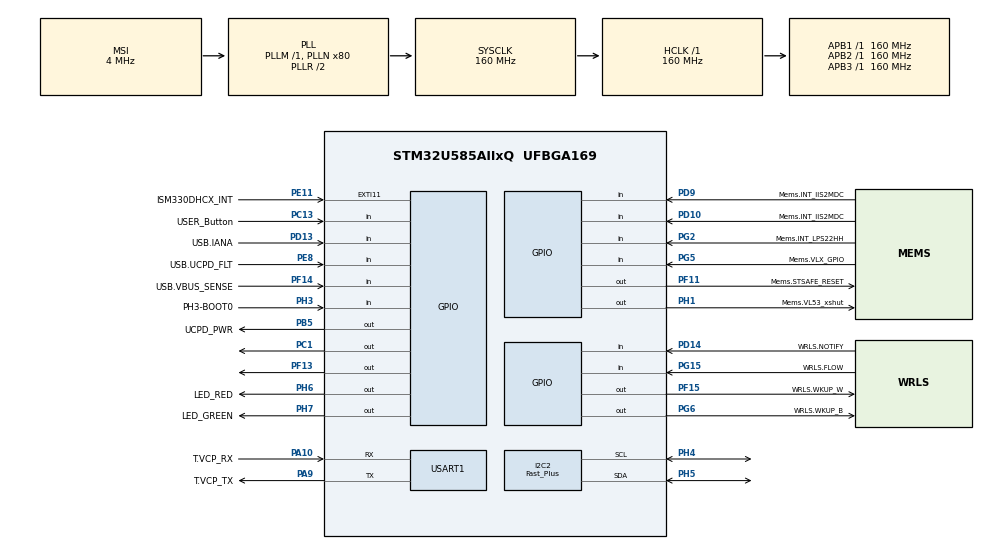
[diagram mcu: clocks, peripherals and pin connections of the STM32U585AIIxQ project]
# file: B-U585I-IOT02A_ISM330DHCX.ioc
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CORTEX_M33_NS.userName=CORTEX_M33
I2C2.AutonomousMode=AUTONOMOUS_MODE_DISABLE
I2C2.I2C_Speed_Mode=I2C_Fast_Plus
I2C2.Timing=0x00701F6B
Mcu.Family=STM32U5
Mcu.Name=STM32U585AIIxQ
Mcu.Package=UFBGA169
NVIC.EXTI11_IRQn=true\:0\:0\:false\:false\:true\:true\:true\:true
NVIC.PriorityGroup=NVIC_PRIORITYGROUP_4
PA10.GPIO_Label=T.VCP_RX
PA10.Mode=Asynchronous
PA10.Signal=USART1_RX
PA11.GPIO_Label=USB.C_P
PA11.Signal=USB_OTG_FS_DM
PA12.GPIO_Label=USB.C_P
PA12.Signal=USB_OTG_FS_DP
PA13\ (JTMS/SWDIO).GPIO_Label=T.SWDIO
PA13\ (JTMS/SWDIO).Signal=DEBUG_JTMS-SWDIO
PA14\ (JTCK/SWCLK).GPIO_Label=T.SWCLK
PA14\ (JTCK/SWCLK).Signal=DEBUG_JTCK-SWCLK
PA15\ (JTDI).GPIO_Label=USB.UCPD_CC1
PA15\ (JTDI).Signal=UCPD1_CC1
PA9.GPIO_Label=T.VCP_TX
PA9.Mode=Asynchronous
PA9.Signal=USART1_TX
PB1.GPIO_Label=MIC.SDIN0
PB1.Signal=MDF1_SDI0
PB10.GPIO_Label=OCTOSPI.R_CLK_P
PB10.Signal=OCTOSPIM_P1_CLK
PB11.GPIO_Label=OCTOSPI.R_NCS
PB11.Signal=OCTOSPIM_P1_NCS
PB12.GPIO_Label=WRLS.SPI2_NSS
PB12.Signal=SPI2_NSS
PB15.GPIO_Label=USB.UCPD_CC2
PB15.Signal=UCPD1_CC2
PB3\ (JTDO/TRACESWO).GPIO_Label=T.SWO
PB3\ (JTDO/TRACESWO).Signal=DEBUG_JTDO-SWO
PB5.GPIO_Label=UCPD_PWR
PB5.Signal=GPIO_Output
PB8.Signal=I2C1_SCL
PB9.Signal=I2C1_SDA
PC1.GPIO_PuPd=GPIO_PULLDOWN
PC1.GPIO_Speed=GPIO_SPEED_FREQ_VERY_HIGH
PC1.PinState=GPIO_PIN_RESET
PC1.Signal=GPIO_Output
PC10.GPIO_Label=WRLS.UART4_TX
PC10.Signal=UART4_TX
PC11.GPIO_Label=WRLS.UART4_RX
PC11.Signal=UART4_RX
PC13.GPIO_Label=USER_Button
PC13.Signal=GPIO_Input
PC14-OSC32_IN\ (PC14).GPIO_Label=PC14-OSC32_IN
PC14-OSC32_IN\ (PC14).Signal=RCC_OSC32_IN
PC15-OSC32_OUT\ (PC15).GPIO_Label=PC15-OSC32_OUT
PC15-OSC32_OUT\ (PC15).Signal=RCC_OSC32_OUT
PC3.GPIO_Label=OCTOSPI.R_IO6
PC3.Signal=OCTOSPIM_P1_IO6
PD1.GPIO_Label=WRLS.SPI2_SCK
PD1.Signal=SPI2_SCK
PD10.GPIO_Label=Mems.INT_IIS2MDC
PD10.Signal=GPIO_Input
PD13.GPIO_Label=USB.IANA
PD13.Signal=GPIO_Input
PD14.GPIO_Label=WRLS.NOTIFY
PD14.Signal=GPIO_Input
PD3.GPIO_Label=WRLS.SPI2_MISO
PD3.Signal=SPI2_MISO
PD4.GPIO_Label=WRLS.SPI2_MOSI
PD4.Signal=SPI2_MOSI
PD7.GPIO_Label=OCTOSPI.R_IO7
PD7.Signal=OCTOSPIM_P1_IO7
PD9.GPIO_Label=Mems.INT_IIS2MDC
PD9.Signal=GPIO_Input
PE10.GPIO_Label=MIC.SDINx
PE10.Signal=ADF1_SDI0
PE11.GPIO_Label=ISM330DHCX_INT
PE11.Signal=GPXTI11
PE3.GPIO_Label=OCTOSPI.R_DQS
PE3.Signal=OCTOSPIM_P1_DQS
PE8.GPIO_Label=USB.UCPD_FLT
PE8.Signal=GPIO_Input
PE9.GPIO_Label=MIC.CCK0
PE9.Signal=ADF1_CCK0
PF0.GPIO_Label=OCTOSPI.F_IO0
PF0.Signal=OCTOSPIM_P2_IO0
PF1.GPIO_Label=OCTOSPI.F_IO1
PF1.Signal=OCTOSPIM_P2_IO1
PF10.GPIO_Label=MIC.CCK1
PF10.Signal=MDF1_CCK1
PF11.GPIO_Label=Mems.STSAFE_RESET
PF11.Signal=GPIO_Output
PF12.GPIO_Label=OCTOSPI.F_DQS
PF12.Signal=OCTOSPIM_P2_DQS
PF13.Signal=GPIO_Output
PF14.GPIO_Label=USB.VBUS_SENSE
PF14.Signal=GPIO_Input
PF15.GPIO_Label=WRLS.WKUP_W
PF15.Signal=GPIO_Output
PF2.GPIO_Label=OCTOSPI.F_IO2
PF2.Signal=OCTOSPIM_P2_IO2
PF3.GPIO_Label=OCTOSPI.F_IO3
PF3.Signal=OCTOSPIM_P2_IO3
PF4.GPIO_Label=OCTOSPI.F_CLK_P
PF4.Signal=OCTOSPIM_P2_CLK
PF6.GPIO_Label=OCTOSPI.R_IO3
PF6.Signal=OCTOSPIM_P1_IO3
PF7.GPIO_Label=OCTOSPI.R_IO2
PF7.Signal=OCTOSPIM_P1_IO2
PF8.GPIO_Label=OCTOSPI.R_IO0
PF8.Signal=OCTOSPIM_P1_IO0
PF9.GPIO_Label=OCTOSPI.R_IO1
PF9.Signal=OCTOSPIM_P1_IO1
PG15.GPIO_Label=WRLS.FLOW
PG15.Signal=GPIO_Input
PG2.GPIO_Label=Mems.INT_LPS22HH
PG2.Signal=GPIO_Input
PG5.GPIO_Label=Mems.VLX_GPIO
PG5.Signal=GPIO_Input
PG6.GPIO_Label=WRLS.WKUP_B
PG6.Signal=GPIO_Output
PH1-OSC_OUT\ (PH1).GPIO_Label=Mems.VL53_xshut
PH1-OSC_OUT\ (PH1).Signal=GPIO_Output
PH10.GPIO_Label=OCTOSPI.F_IO5
PH10.Signal=OCTOSPIM_P2_IO5
PH11.GPIO_Label=OCTOSPI.F_IO6
PH11.Signal=OCTOSPIM_P2_IO6
PH12.GPIO_Label=OCTOSPI.F_IO7
PH12.Signal=OCTOSPIM_P2_IO7
PH2.GPIO_Label=OCTOSPI.R_IO4
PH2.Signal=OCTOSPIM_P1_IO4
PH3-BOOT0.GPIO_Label=PH3-BOOT0
PH3-BOOT0.Signal=GPIO_Input
PH4.GPIO_Mode=GPIO_MODE_AF_OD
PH4.GPIO_Speed=GPIO_SPEED_FREQ_VERY_HIGH
PH4.Mode=I2C
PH4.Signal=I2C2_SCL
PH5.GPIO_Speed=GPIO_SPEED_FREQ_VERY_HIGH
PH5.Mode=I2C
PH5.Signal=I2C2_SDA
PH6.GPIO_Label=LED_RED
PH6.Signal=GPIO_Output
PH7.GPIO_Label=LED_GREEN
PH7.Signal=GPIO_Output
PH9.GPIO_Label=OCTOSPI.F_IO4
PH9.Signal=OCTOSPIM_P2_IO4
PI0.GPIO_Label=OCTOSPI.R_IO5
PI0.Signal=OCTOSPIM_P1_IO5
PI5.GPIO_Label=OCTOSPI.F_NCS
PI5.Signal=OCTOSPIM_P2_NCS
PWR.PowerMode=PWR_SMPS_SUPPLY
ProjectManager.HeapSize=0x200
ProjectManager.StackSize=0x400
ProjectManager.TargetToolchain=STM32CubeIDE
RCC.ADCFreq_Value=16000000
RCC.AHBFreq_Value=160000000
RCC.APB1Freq_Value=160000000
RCC.APB1TimFreq_Value=160000000
RCC.APB2Freq_Value=160000000
RCC.APB2TimFreq_Value=160000000
RCC.APB3Freq_Value=160000000
RCC.CortexFreq_Value=160000000
RCC.DACCLockSelectionVirtual=RCC_DAC1CLKSOURCE_LSI
RCC.EPOD_VALUE=4000000
RCC.HCLKFreq_Value=160000000
RCC.HSE_VALUE=16000000
RCC.HSI48_VALUE=48000000
RCC.HSI_VALUE=16000000
RCC.LSE_VALUE=32768
RCC.LSIDIV_VALUE=32000
RCC.MSI_VALUE=4000000
RCC.PLLN=80
RCC.SYSCLKFreq_VALUE=160000000
RCC.SYSCLKSource=RCC_SYSCLKSOURCE_PLLCLK
RCC.USBFreq_Value=48000000
RCC.VCOOutputFreq_Value=320000000
USART1.VirtualMode-Asynchronous=VM_ASYNC
VP_LPBAMQUEUE_VS_QUEUE.Mode=QUEUEMODE
VP_LPBAM_VS_SIG1.Mode=SmartRun
VP_LPBAM_VS_SIG4.Mode=LPDMA1
VP_MEMORYMAP_VS_MEMORYMAP.Mode=CurAppReg
VP_PWR_VS_DBSignals.Mode=DisableDeadBatterySignals
VP_PWR_VS_LPOM.Mode=PowerOptimisation
VP_PWR_VS_SECSignals.Mode=Security/Privilege
board=B-U585I-IOT02A

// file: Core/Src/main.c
/* USER CODE BEGIN Header */
/**
 ******************************************************************************
 * @file           : main.c
 * @brief          : Main program body
 ******************************************************************************
 * @attention
 *
 * Copyright (c) 2022 STMicroelectronics.
 * All rights reserved.
 *
 * This software is licensed under terms that can be found in the LICENSE file
 * in the root directory of this software component.
 * If no LICENSE file comes with this software, it is provided AS-IS.
 *
 ******************************************************************************
 */
/* USER CODE END Header */
#include "main.h"

/* USER CODE BEGIN Includes */
#include <string.h>
#include <stdio.h>
#include "ism330dhcx_reg.h"
#include "cycle_dwt.h"
#include "NanoEdgeAI.h"
#include "knowledge.h"

/* USER CODE END Includes */

/* USER CODE BEGIN PTD */
typedef enum {
	LOG, INFERENCE,
} States_t;
/* USER CODE END PTD */

/* USER CODE BEGIN PD */
/************************************************************ NEAI algorithm defines begin ************************************************************/
/************************************************************ Global settings part ************************************************************/
#ifndef AXIS
#define AXIS                          3                         /* Axis should be defined between 1 and 3 */
#endif
#ifndef SAMPLES
#define SAMPLES                       256                       /* Should be between 16 & 4096 */
#endif
#define MAX_FIFO_SIZE                   256                       /* The maximum number of data we can get in the FIFO is 512 but here we define max to 256 for our need */
#define FIFO_FULL                       512                       /* FIFO full size */
#define FIFO_WORD                       7                         /* FIFO word size composed of 1 byte which is identification tag & 6 bytes of fixed data */
/************************************************************ Sensor type part ************************************************************/
#define GYROSCOPE                       0
#define ACCELEROMETER                   1
#ifndef SENSOR_TYPE
#define SENSOR_TYPE                   ACCELEROMETER             /* Here we define the data type we're going to collect */
#endif
/************************************************************ Sensors configuration part ************************************************************/
#if (SENSOR_TYPE == ACCELEROMETER)
#ifndef ACCELEROMETER_ODR
#define ACCELEROMETER_ODR           ISM330DHCX_XL_ODR_833Hz  /* Shoud be between ISM330DHCX_XL_ODR_12Hz5 and ISM330DHCX_XL_ODR_6667Hz */
#endif
#ifndef ACCELEROMETER_FS
#define ACCELEROMETER_FS            ISM330DHCX_2g             /* Should be between ISM330DHCX_2g and ISM330DHCX_8g */
#endif
#elif (SENSOR_TYPE == GYROSCOPE)
  #ifndef GYROSCOPE_ODR
    #define GYROSCOPE_ODR               ISM330DHCX_GY_ODR_1666Hz  /* Shoud be between ISM330DHCX_GY_ODR_12Hz5 and ISM330DHCX_GY_ODR_6667Hz */
  #endif
  #ifndef GYROSCOPE_FS
    #define GYROSCOPE_FS                ISM330DHCX_2000dps        /* Should be between ISM330DHCX_125dps and ISM330DHCX_4000dps */
  #endif
#endif
/************************************************************ Datalogger / NEAI mode part ************************************************************/
#ifndef NEAI_MODE
#define NEAI_MODE                     1                        /* 0: Datalogger mode, 1: NEAI functions mode */
#endif
#if (NEAI_MODE == 1)
#ifndef NEAI_LEARN_NB
#define NEAI_LEARN_NB               20                        /* Number of buffers to be learn by the NEAI library */
#endif
#endif

#ifndef SIGNAL_SIZE
#define SIGNAL_SIZE  (uint32_t)(DATA_INPUT_USER * AXIS_NUMBER)
#endif
/************************************************************ NEAI algorithm defines end ************************************************************/
/* USER CODE END PD */

I2C_HandleTypeDef hi2c2;

UART_HandleTypeDef huart1;

/* USER CODE BEGIN PV */
static uint8_t whoamI, rst;
uint8_t neai_similarity = 0, neai_state = 0;
volatile uint8_t drdy = 0;
uint16_t data_left = (uint16_t) SAMPLES, number_read = 0, neai_buffer_ptr = 0,
		neai_cnt = 0;
float neai_time = 0.0;
static float neai_buffer[AXIS * SAMPLES] = { 0.0 };
stmdev_ctx_t dev_ctx;

volatile States_t appState = INFERENCE;  // FSM state
volatile uint32_t sensorDataReady = RESET;
float input_user_buffer[SIGNAL_SIZE ];
uint16_t id_class = 0; // Points to id class
float output_class_buffer[CLASS_NUMBER]; // Buffer for class probabilities

const char *id2class[CLASS_NUMBER + 1] = { // Buffer for mapping class id to class name
		"unknown", "static", "vibr", };

/* USER CODE END PV */

void SystemClock_Config(void);
static void SystemPower_Config(void);
static void MX_GPIO_Init(void);
static void MX_USART1_UART_Init(void);
static void MX_I2C2_Init(void);
/* USER CODE BEGIN PFP */
static int32_t platform_write(void *handle, uint8_t reg, const uint8_t *bufp,
		uint16_t len);
static int32_t platform_read(void *handle, uint8_t reg, uint8_t *bufp,
		uint16_t len);
static void ism330dhcx_initialize(void);
static void ism330dhcx_initialize_basics(void);
static void ism330dhcx_initialize_fifo(void);
static void ism330dhcx_get_buffer_from_fifo(uint16_t nb);
static float ism330dhcx_convert_gyro_data_to_mdps(int16_t gyro_raw_data);
static float ism330dhcx_convert_accel_data_to_mg(int16_t accel_raw_data);

void Inference();
void FillBuffer(float *buffer, uint32_t size);
/* USER CODE END PFP */

int main(void)
{
  /* USER CODE BEGIN 1 */
	/* Initialize mems driver interface */
	dev_ctx.write_reg = platform_write;
	dev_ctx.read_reg = platform_read;
	dev_ctx.handle = &hi2c2;
  /* USER CODE END 1 */

  /* MCU Configuration--------------------------------------------------------*/

  /* Reset of all peripherals, Initializes the Flash interface and the Systick. */
  HAL_Init();

  /* Configure the system clock */
  SystemClock_Config();

  /* Configure the System Power */
  SystemPower_Config();

  /* Initialize all configured peripherals */
  MX_GPIO_Init();
  MX_USART1_UART_Init();
  MX_I2C2_Init();
  /* USER CODE BEGIN 2 */
	KIN1_InitCycleCounter();
	KIN1_EnableCycleCounter();
	ism330dhcx_initialize();
	if (NEAI_MODE) {
		enum neai_state error_code = neai_classification_init(knowledge);
		if (error_code != NEAI_OK) {
			printf("Knowledge initialization ERROR: %d\r\n", error_code);
			Error_Handler();
		} else {
			printf("Knowledge initialization done\r\n");
		}
	}

  /* USER CODE END 2 */

  /* Infinite loop */
  /* USER CODE BEGIN WHILE */

	while (1) {
		switch (appState) {
		case LOG:
			// Log(); // Implement if needed
			break;
		case INFERENCE:
			Inference();
			break;
		default:
			appState = INFERENCE;
			break;
		}
	}
    /* USER CODE END WHILE */

}

void SystemClock_Config(void)
{
  RCC_OscInitTypeDef RCC_OscInitStruct = {0};
  RCC_ClkInitTypeDef RCC_ClkInitStruct = {0};

  /** Configure the main internal regulator output voltage
  */
  if (HAL_PWREx_ControlVoltageScaling(PWR_REGULATOR_VOLTAGE_SCALE1) != HAL_OK)
  {
    Error_Handler();
  }

  /** Initializes the CPU, AHB and APB buses clocks
  */
  RCC_OscInitStruct.OscillatorType = RCC_OSCILLATORTYPE_MSI;
  RCC_OscInitStruct.MSIState = RCC_MSI_ON;
  RCC_OscInitStruct.MSICalibrationValue = RCC_MSICALIBRATION_DEFAULT;
  RCC_OscInitStruct.MSIClockRange = RCC_MSIRANGE_4;
  RCC_OscInitStruct.PLL.PLLState = RCC_PLL_ON;
  RCC_OscInitStruct.PLL.PLLSource = RCC_PLLSOURCE_MSI;
  RCC_OscInitStruct.PLL.PLLMBOOST = RCC_PLLMBOOST_DIV1;
  RCC_OscInitStruct.PLL.PLLM = 1;
  RCC_OscInitStruct.PLL.PLLN = 80;
  RCC_OscInitStruct.PLL.PLLP = 2;
  RCC_OscInitStruct.PLL.PLLQ = 2;
  RCC_OscInitStruct.PLL.PLLR = 2;
  RCC_OscInitStruct.PLL.PLLRGE = RCC_PLLVCIRANGE_0;
  RCC_OscInitStruct.PLL.PLLFRACN = 0;
  if (HAL_RCC_OscConfig(&RCC_OscInitStruct) != HAL_OK)
  {
    Error_Handler();
  }

  /** Initializes the CPU, AHB and APB buses clocks
  */
  RCC_ClkInitStruct.ClockType = RCC_CLOCKTYPE_HCLK|RCC_CLOCKTYPE_SYSCLK
                              |RCC_CLOCKTYPE_PCLK1|RCC_CLOCKTYPE_PCLK2
                              |RCC_CLOCKTYPE_PCLK3;
  RCC_ClkInitStruct.SYSCLKSource = RCC_SYSCLKSOURCE_PLLCLK;
  RCC_ClkInitStruct.AHBCLKDivider = RCC_SYSCLK_DIV1;
  RCC_ClkInitStruct.APB1CLKDivider = RCC_HCLK_DIV1;
  RCC_ClkInitStruct.APB2CLKDivider = RCC_HCLK_DIV1;
  RCC_ClkInitStruct.APB3CLKDivider = RCC_HCLK_DIV1;

  if (HAL_RCC_ClockConfig(&RCC_ClkInitStruct, FLASH_LATENCY_4) != HAL_OK)
  {
    Error_Handler();
  }
}

/**
  * @brief Power Configuration
  * @retval None
  */
static void SystemPower_Config(void)
{
  HAL_PWREx_EnableVddIO2();

  /*
   * Disable the internal Pull-Up in Dead Battery pins of UCPD peripheral
   */
  HAL_PWREx_DisableUCPDDeadBattery();

  /*
   * Switch to SMPS regulator instead of LDO
   */
  if (HAL_PWREx_ConfigSupply(PWR_SMPS_SUPPLY) != HAL_OK)
  {
    Error_Handler();
  }
}

static void MX_I2C2_Init(void)
{

  hi2c2.Instance = I2C2;
  hi2c2.Init.Timing = 0x00701F6B;
  hi2c2.Init.OwnAddress1 = 0;
  hi2c2.Init.AddressingMode = I2C_ADDRESSINGMODE_7BIT;
  hi2c2.Init.DualAddressMode = I2C_DUALADDRESS_DISABLE;
  hi2c2.Init.OwnAddress2 = 0;
  hi2c2.Init.OwnAddress2Masks = I2C_OA2_NOMASK;
  hi2c2.Init.GeneralCallMode = I2C_GENERALCALL_DISABLE;
  hi2c2.Init.NoStretchMode = I2C_NOSTRETCH_DISABLE;
  if (HAL_I2C_Init(&hi2c2) != HAL_OK)
  {
    Error_Handler();
  }

  /** Configure Analogue filter
  */
  if (HAL_I2CEx_ConfigAnalogFilter(&hi2c2, I2C_ANALOGFILTER_ENABLE) != HAL_OK)
  {
    Error_Handler();
  }

  /** Configure Digital filter
  */
  if (HAL_I2CEx_ConfigDigitalFilter(&hi2c2, 0) != HAL_OK)
  {
    Error_Handler();
  }

  /** I2C Fast mode Plus enable
  */
  if (HAL_I2CEx_ConfigFastModePlus(&hi2c2, I2C_FASTMODEPLUS_ENABLE) != HAL_OK)
  {
    Error_Handler();
  }

}

static void MX_USART1_UART_Init(void)
{

  huart1.Instance = USART1;
  huart1.Init.BaudRate = 115200;
  huart1.Init.WordLength = UART_WORDLENGTH_8B;
  huart1.Init.StopBits = UART_STOPBITS_1;
  huart1.Init.Parity = UART_PARITY_NONE;
  huart1.Init.Mode = UART_MODE_TX_RX;
  huart1.Init.HwFlowCtl = UART_HWCONTROL_NONE;
  huart1.Init.OverSampling = UART_OVERSAMPLING_16;
  huart1.Init.OneBitSampling = UART_ONE_BIT_SAMPLE_DISABLE;
  huart1.Init.ClockPrescaler = UART_PRESCALER_DIV1;
  huart1.AdvancedInit.AdvFeatureInit = UART_ADVFEATURE_NO_INIT;
  if (HAL_UART_Init(&huart1) != HAL_OK)
  {
    Error_Handler();
  }
  if (HAL_UARTEx_SetTxFifoThreshold(&huart1, UART_TXFIFO_THRESHOLD_1_8) != HAL_OK)
  {
    Error_Handler();
  }
  if (HAL_UARTEx_SetRxFifoThreshold(&huart1, UART_RXFIFO_THRESHOLD_1_8) != HAL_OK)
  {
    Error_Handler();
  }
  if (HAL_UARTEx_DisableFifoMode(&huart1) != HAL_OK)
  {
    Error_Handler();
  }

}

static void MX_GPIO_Init(void)
{
  GPIO_InitTypeDef GPIO_InitStruct = {0};

  /* GPIO Ports Clock Enable */
  __HAL_RCC_GPIOG_CLK_ENABLE();
  __HAL_RCC_GPIOC_CLK_ENABLE();
  __HAL_RCC_GPIOA_CLK_ENABLE();
  __HAL_RCC_GPIOI_CLK_ENABLE();
  __HAL_RCC_GPIOH_CLK_ENABLE();
  __HAL_RCC_GPIOB_CLK_ENABLE();
  __HAL_RCC_GPIOD_CLK_ENABLE();
  __HAL_RCC_GPIOE_CLK_ENABLE();
  __HAL_RCC_GPIOF_CLK_ENABLE();

  /*Configure GPIO pin Output Level */
  HAL_GPIO_WritePin(UCPD_PWR_GPIO_Port, UCPD_PWR_Pin, GPIO_PIN_RESET);

  /*Configure GPIO pin Output Level */
  HAL_GPIO_WritePin(GPIOH, LED_RED_Pin|LED_GREEN_Pin|Mems_VL53_xshut_Pin, GPIO_PIN_RESET);

  /*Configure GPIO pin Output Level */
  HAL_GPIO_WritePin(WRLS_WKUP_B_GPIO_Port, WRLS_WKUP_B_Pin, GPIO_PIN_RESET);

  /*Configure GPIO pin Output Level */
  HAL_GPIO_WritePin(GPIOC, GPIO_PIN_1, GPIO_PIN_RESET);

  /*Configure GPIO pin Output Level */
  HAL_GPIO_WritePin(GPIOF, Mems_STSAFE_RESET_Pin|GPIO_PIN_13|WRLS_WKUP_W_Pin, GPIO_PIN_RESET);

  /*Configure GPIO pins : WRLS_FLOW_Pin Mems_VLX_GPIO_Pin Mems_INT_LPS22HH_Pin */
  GPIO_InitStruct.Pin = WRLS_FLOW_Pin|Mems_VLX_GPIO_Pin|Mems_INT_LPS22HH_Pin;
  GPIO_InitStruct.Mode = GPIO_MODE_INPUT;
  GPIO_InitStruct.Pull = GPIO_NOPULL;
  HAL_GPIO_Init(GPIOG, &GPIO_InitStruct);

  /*Configure GPIO pins : WRLS_UART4_RX_Pin WRLS_UART4_TX_Pin */
  GPIO_InitStruct.Pin = WRLS_UART4_RX_Pin|WRLS_UART4_TX_Pin;
  GPIO_InitStruct.Mode = GPIO_MODE_AF_PP;
  GPIO_InitStruct.Pull = GPIO_NOPULL;
  GPIO_InitStruct.Speed = GPIO_SPEED_FREQ_LOW;
  GPIO_InitStruct.Alternate = GPIO_AF8_UART4;
  HAL_GPIO_Init(GPIOC, &GPIO_InitStruct);

  /*Configure GPIO pin : USB_UCPD_CC1_Pin */
  GPIO_InitStruct.Pin = USB_UCPD_CC1_Pin;
  GPIO_InitStruct.Mode = GPIO_MODE_ANALOG;
  GPIO_InitStruct.Pull = GPIO_NOPULL;
  HAL_GPIO_Init(USB_UCPD_CC1_GPIO_Port, &GPIO_InitStruct);

  /*Configure GPIO pin : OCTOSPI_F_NCS_Pin */
  GPIO_InitStruct.Pin = OCTOSPI_F_NCS_Pin;
  GPIO_InitStruct.Mode = GPIO_MODE_AF_PP;
  GPIO_InitStruct.Pull = GPIO_NOPULL;
  GPIO_InitStruct.Speed = GPIO_SPEED_FREQ_VERY_HIGH;
  GPIO_InitStruct.Alternate = GPIO_AF5_OCTOSPI2;
  HAL_GPIO_Init(OCTOSPI_F_NCS_GPIO_Port, &GPIO_InitStruct);

  /*Configure GPIO pin : OCTOSPI_R_IO5_Pin */
  GPIO_InitStruct.Pin = OCTOSPI_R_IO5_Pin;
  GPIO_InitStruct.Mode = GPIO_MODE_AF_PP;
  GPIO_InitStruct.Pull = GPIO_NOPULL;
  GPIO_InitStruct.Speed = GPIO_SPEED_FREQ_VERY_HIGH;
  GPIO_InitStruct.Alternate = GPIO_AF3_OCTOSPI1;
  HAL_GPIO_Init(OCTOSPI_R_IO5_GPIO_Port, &GPIO_InitStruct);

  /*Configure GPIO pins : OCTOSPI_F_IO7_Pin OCTOSPI_F_IO5_Pin OCTOSPI_F_IO6_Pin OCTOSPI_F_IO4_Pin */
  GPIO_InitStruct.Pin = OCTOSPI_F_IO7_Pin|OCTOSPI_F_IO5_Pin|OCTOSPI_F_IO6_Pin|OCTOSPI_F_IO4_Pin;
  GPIO_InitStruct.Mode = GPIO_MODE_AF_PP;
  GPIO_InitStruct.Pull = GPIO_NOPULL;
  GPIO_InitStruct.Speed = GPIO_SPEED_FREQ_VERY_HIGH;
  GPIO_InitStruct.Alternate = GPIO_AF5_OCTOSPI2;
  HAL_GPIO_Init(GPIOH, &GPIO_InitStruct);

  /*Configure GPIO pin : PH3_BOOT0_Pin */
  GPIO_InitStruct.Pin = PH3_BOOT0_Pin;
  GPIO_InitStruct.Mode = GPIO_MODE_INPUT;
  GPIO_InitStruct.Pull = GPIO_NOPULL;
  HAL_GPIO_Init(PH3_BOOT0_GPIO_Port, &GPIO_InitStruct);

  /*Configure GPIO pin : UCPD_PWR_Pin */
  GPIO_InitStruct.Pin = UCPD_PWR_Pin;
  GPIO_InitStruct.Mode = GPIO_MODE_OUTPUT_PP;
  GPIO_InitStruct.Pull = GPIO_NOPULL;
  GPIO_InitStruct.Speed = GPIO_SPEED_FREQ_LOW;
  HAL_GPIO_Init(UCPD_PWR_GPIO_Port, &GPIO_InitStruct);

  /*Configure GPIO pins : WRLS_SPI2_MOSI_Pin WRLS_SPI2_MISO_Pin WRLS_SPI2_SCK_Pin */
  GPIO_InitStruct.Pin = WRLS_SPI2_MOSI_Pin|WRLS_SPI2_MISO_Pin|WRLS_SPI2_SCK_Pin;
  GPIO_InitStruct.Mode = GPIO_MODE_AF_PP;
  GPIO_InitStruct.Pull = GPIO_NOPULL;
  GPIO_InitStruct.Speed = GPIO_SPEED_FREQ_LOW;
  GPIO_InitStruct.Alternate = GPIO_AF5_SPI2;
  HAL_GPIO_Init(GPIOD, &GPIO_InitStruct);

  /*Configure GPIO pin : OCTOSPI_R_DQS_Pin */
  GPIO_InitStruct.Pin = OCTOSPI_R_DQS_Pin;
  GPIO_InitStruct.Mode = GPIO_MODE_AF_PP;
  GPIO_InitStruct.Pull = GPIO_NOPULL;
  GPIO_InitStruct.Speed = GPIO_SPEED_FREQ_VERY_HIGH;
  GPIO_InitStruct.Alternate = GPIO_AF3_OCTOSPI1;
  HAL_GPIO_Init(OCTOSPI_R_DQS_GPIO_Port, &GPIO_InitStruct);

  /*Configure GPIO pins : PB9 PB8 */
  GPIO_InitStruct.Pin = GPIO_PIN_9|GPIO_PIN_8;
  GPIO_InitStruct.Mode = GPIO_MODE_AF_OD;
  GPIO_InitStruct.Pull = GPIO_NOPULL;
  GPIO_InitStruct.Speed = GPIO_SPEED_FREQ_LOW;
  GPIO_InitStruct.Alternate = GPIO_AF4_I2C1;
  HAL_GPIO_Init(GPIOB, &GPIO_InitStruct);

  /*Configure GPIO pin : OCTOSPI_R_IO7_Pin */
  GPIO_InitStruct.Pin = OCTOSPI_R_IO7_Pin;
  GPIO_InitStruct.Mode = GPIO_MODE_AF_PP;
  GPIO_InitStruct.Pull = GPIO_NOPULL;
  GPIO_InitStruct.Speed = GPIO_SPEED_FREQ_VERY_HIGH;
  GPIO_InitStruct.Alternate = GPIO_AF10_OCTOSPI1;
  HAL_GPIO_Init(OCTOSPI_R_IO7_GPIO_Port, &GPIO_InitStruct);

  /*Configure GPIO pins : OCTOSPI_F_IO0_Pin OCTOSPI_F_IO1_Pin OCTOSPI_F_IO2_Pin OCTOSPI_F_IO3_Pin
                           OCTOSPI_F_CLK_P_Pin OCTOSPI_F_DQS_Pin */
  GPIO_InitStruct.Pin = OCTOSPI_F_IO0_Pin|OCTOSPI_F_IO1_Pin|OCTOSPI_F_IO2_Pin|OCTOSPI_F_IO3_Pin
                          |OCTOSPI_F_CLK_P_Pin|OCTOSPI_F_DQS_Pin;
  GPIO_InitStruct.Mode = GPIO_MODE_AF_PP;
  GPIO_InitStruct.Pull = GPIO_NOPULL;
  GPIO_InitStruct.Speed = GPIO_SPEED_FREQ_VERY_HIGH;
  GPIO_InitStruct.Alternate = GPIO_AF5_OCTOSPI2;
  HAL_GPIO_Init(GPIOF, &GPIO_InitStruct);

  /*Configure GPIO pin : USER_Button_Pin */
  GPIO_InitStruct.Pin = USER_Button_Pin;
  GPIO_InitStruct.Mode = GPIO_MODE_INPUT;
  GPIO_InitStruct.Pull = GPIO_NOPULL;
  HAL_GPIO_Init(USER_Button_GPIO_Port, &GPIO_InitStruct);

  /*Configure GPIO pins : LED_RED_Pin LED_GREEN_Pin Mems_VL53_xshut_Pin */
  GPIO_InitStruct.Pin = LED_RED_Pin|LED_GREEN_Pin|Mems_VL53_xshut_Pin;
  GPIO_InitStruct.Mode = GPIO_MODE_OUTPUT_PP;
  GPIO_InitStruct.Pull = GPIO_NOPULL;
  GPIO_InitStruct.Speed = GPIO_SPEED_FREQ_LOW;
  HAL_GPIO_Init(GPIOH, &GPIO_InitStruct);

  /*Configure GPIO pins : OCTOSPI_R_IO0_Pin OCTOSPI_R_IO2_Pin OCTOSPI_R_IO1_Pin OCTOSPI_R_IO3_Pin */
  GPIO_InitStruct.Pin = OCTOSPI_R_IO0_Pin|OCTOSPI_R_IO2_Pin|OCTOSPI_R_IO1_Pin|OCTOSPI_R_IO3_Pin;
  GPIO_InitStruct.Mode = GPIO_MODE_AF_PP;
  GPIO_InitStruct.Pull = GPIO_NOPULL;
  GPIO_InitStruct.Speed = GPIO_SPEED_FREQ_VERY_HIGH;
  GPIO_InitStruct.Alternate = GPIO_AF10_OCTOSPI1;
  HAL_GPIO_Init(GPIOF, &GPIO_InitStruct);

  /*Configure GPIO pin : OCTOSPI_R_IO4_Pin */
  GPIO_InitStruct.Pin = OCTOSPI_R_IO4_Pin;
  GPIO_InitStruct.Mode = GPIO_MODE_AF_PP;
  GPIO_InitStruct.Pull = GPIO_NOPULL;
  GPIO_InitStruct.Speed = GPIO_SPEED_FREQ_VERY_HIGH;
  GPIO_InitStruct.Alternate = GPIO_AF3_OCTOSPI1;
  HAL_GPIO_Init(OCTOSPI_R_IO4_GPIO_Port, &GPIO_InitStruct);

  /*Configure GPIO pins : USB_C_P_Pin USB_C_PA11_Pin */
  GPIO_InitStruct.Pin = USB_C_P_Pin|USB_C_PA11_Pin;
  GPIO_InitStruct.Mode = GPIO_MODE_AF_PP;
  GPIO_InitStruct.Pull = GPIO_NOPULL;
  GPIO_InitStruct.Speed = GPIO_SPEED_FREQ_LOW;
  GPIO_InitStruct.Alternate = GPIO_AF10_USB;
  HAL_GPIO_Init(GPIOA, &GPIO_InitStruct);

  /*Configure GPIO pin : MIC_CCK1_Pin */
  GPIO_InitStruct.Pin = MIC_CCK1_Pin;
  GPIO_InitStruct.Mode = GPIO_MODE_AF_PP;
  GPIO_InitStruct.Pull = GPIO_NOPULL;
  GPIO_InitStruct.Speed = GPIO_SPEED_FREQ_LOW;
  GPIO_InitStruct.Alternate = GPIO_AF6_MDF1;
  HAL_GPIO_Init(MIC_CCK1_GPIO_Port, &GPIO_InitStruct);

  /*Configure GPIO pins : MIC_SDINx_Pin MIC_CCK0_Pin */
  GPIO_InitStruct.Pin = MIC_SDINx_Pin|MIC_CCK0_Pin;
  GPIO_InitStruct.Mode = GPIO_MODE_AF_PP;
  GPIO_InitStruct.Pull = GPIO_NOPULL;
  GPIO_InitStruct.Speed = GPIO_SPEED_FREQ_LOW;
  GPIO_InitStruct.Alternate = GPIO_AF3_ADF1;
  HAL_GPIO_Init(GPIOE, &GPIO_InitStruct);

  /*Configure GPIO pin : WRLS_WKUP_B_Pin */
  GPIO_InitStruct.Pin = WRLS_WKUP_B_Pin;
  GPIO_InitStruct.Mode = GPIO_MODE_OUTPUT_PP;
  GPIO_InitStruct.Pull = GPIO_NOPULL;
  GPIO_InitStruct.Speed = GPIO_SPEED_FREQ_LOW;
  HAL_GPIO_Init(WRLS_WKUP_B_GPIO_Port, &GPIO_InitStruct);

  /*Configure GPIO pin : PC1 */
  GPIO_InitStruct.Pin = GPIO_PIN_1;
  GPIO_InitStruct.Mode = GPIO_MODE_OUTPUT_PP;
  GPIO_InitStruct.Pull = GPIO_PULLDOWN;
  GPIO_InitStruct.Speed = GPIO_SPEED_FREQ_VERY_HIGH;
  HAL_GPIO_Init(GPIOC, &GPIO_InitStruct);

  /*Configure GPIO pins : WRLS_NOTIFY_Pin Mems_INT_IIS2MDC_Pin USB_IANA_Pin Mems_INT_IIS2MDCD9_Pin */
  GPIO_InitStruct.Pin = WRLS_NOTIFY_Pin|Mems_INT_IIS2MDC_Pin|USB_IANA_Pin|Mems_INT_IIS2MDCD9_Pin;
  GPIO_InitStruct.Mode = GPIO_MODE_INPUT;
  GPIO_InitStruct.Pull = GPIO_NOPULL;
  HAL_GPIO_Init(GPIOD, &GPIO_InitStruct);

  /*Configure GPIO pin : OCTOSPI_R_IO6_Pin */
  GPIO_InitStruct.Pin = OCTOSPI_R_IO6_Pin;
  GPIO_InitStruct.Mode = GPIO_MODE_AF_PP;
  GPIO_InitStruct.Pull = GPIO_NOPULL;
  GPIO_InitStruct.Speed = GPIO_SPEED_FREQ_VERY_HIGH;
  GPIO_InitStruct.Alternate = GPIO_AF10_OCTOSPI1;
  HAL_GPIO_Init(OCTOSPI_R_IO6_GPIO_Port, &GPIO_InitStruct);

  /*Configure GPIO pin : USB_UCPD_FLT_Pin */
  GPIO_InitStruct.Pin = USB_UCPD_FLT_Pin;
  GPIO_InitStruct.Mode = GPIO_MODE_INPUT;
  GPIO_InitStruct.Pull = GPIO_NOPULL;
  HAL_GPIO_Init(USB_UCPD_FLT_GPIO_Port, &GPIO_InitStruct);

  /*Configure GPIO pins : OCTOSPI_R_CLK_P_Pin OCTOSPI_R_NCS_Pin */
  GPIO_InitStruct.Pin = OCTOSPI_R_CLK_P_Pin|OCTOSPI_R_NCS_Pin;
  GPIO_InitStruct.Mode = GPIO_MODE_AF_PP;
  GPIO_InitStruct.Pull = GPIO_NOPULL;
  GPIO_InitStruct.Speed = GPIO_SPEED_FREQ_VERY_HIGH;
  GPIO_InitStruct.Alternate = GPIO_AF10_OCTOSPI1;
  HAL_GPIO_Init(GPIOB, &GPIO_InitStruct);

  /*Configure GPIO pin : USB_VBUS_SENSE_Pin */
  GPIO_InitStruct.Pin = USB_VBUS_SENSE_Pin;
  GPIO_InitStruct.Mode = GPIO_MODE_INPUT;
  GPIO_InitStruct.Pull = GPIO_NOPULL;
  HAL_GPIO_Init(USB_VBUS_SENSE_GPIO_Port, &GPIO_InitStruct);

  /*Configure GPIO pin : WRLS_SPI2_NSS_Pin */
  GPIO_InitStruct.Pin = WRLS_SPI2_NSS_Pin;
  GPIO_InitStruct.Mode = GPIO_MODE_AF_PP;
  GPIO_InitStruct.Pull = GPIO_NOPULL;
  GPIO_InitStruct.Speed = GPIO_SPEED_FREQ_LOW;
  GPIO_InitStruct.Alternate = GPIO_AF5_SPI2;
  HAL_GPIO_Init(WRLS_SPI2_NSS_GPIO_Port, &GPIO_InitStruct);

  /*Configure GPIO pin : USB_UCPD_CC2_Pin */
  GPIO_InitStruct.Pin = USB_UCPD_CC2_Pin;
  GPIO_InitStruct.Mode = GPIO_MODE_ANALOG;
  GPIO_InitStruct.Pull = GPIO_NOPULL;
  HAL_GPIO_Init(USB_UCPD_CC2_GPIO_Port, &GPIO_InitStruct);

  /*Configure GPIO pins : Mems_STSAFE_RESET_Pin PF13 WRLS_WKUP_W_Pin */
  GPIO_InitStruct.Pin = Mems_STSAFE_RESET_Pin|GPIO_PIN_13|WRLS_WKUP_W_Pin;
  GPIO_InitStruct.Mode = GPIO_MODE_OUTPUT_PP;
  GPIO_InitStruct.Pull = GPIO_NOPULL;
  GPIO_InitStruct.Speed = GPIO_SPEED_FREQ_LOW;
  HAL_GPIO_Init(GPIOF, &GPIO_InitStruct);

  /*Configure GPIO pin : ISM330DHCX_INT_Pin */
  GPIO_InitStruct.Pin = ISM330DHCX_INT_Pin;
  GPIO_InitStruct.Mode = GPIO_MODE_IT_RISING;
  GPIO_InitStruct.Pull = GPIO_NOPULL;
  HAL_GPIO_Init(ISM330DHCX_INT_GPIO_Port, &GPIO_InitStruct);

  /*Configure GPIO pin : MIC_SDIN0_Pin */
  GPIO_InitStruct.Pin = MIC_SDIN0_Pin;
  GPIO_InitStruct.Mode = GPIO_MODE_AF_PP;
  GPIO_InitStruct.Pull = GPIO_NOPULL;
  GPIO_InitStruct.Speed = GPIO_SPEED_FREQ_LOW;
  GPIO_InitStruct.Alternate = GPIO_AF6_MDF1;
  HAL_GPIO_Init(MIC_SDIN0_GPIO_Port, &GPIO_InitStruct);

  /* EXTI interrupt init*/
  HAL_NVIC_SetPriority(EXTI11_IRQn, 0, 0);
  HAL_NVIC_EnableIRQ(EXTI11_IRQn);

}

/* USER CODE BEGIN 4 */
/**
 * @brief  Redirecting stdout to USART1 which is connected on the STLINK port
 * @retval
 * @param
 */
int __io_putchar(int ch) {
	uint8_t c[1];
	c[0] = ch & 0x00FF;
	HAL_UART_Transmit(&huart1, &*c, 1, 10);
	return ch;
}

/**
 * @brief  EXTI line detection callback.
 * @param  GPIO_Pin Specifies the port pin connected to corresponding EXTI line.
 * @retval None
 */
void HAL_GPIO_EXTI_Rising_Callback(uint16_t GPIO_Pin) {
	switch (GPIO_Pin) {
	case ISM330DHCX_INT_Pin:
		drdy = 1;
		break;
	}
}

/*
 * @brief  Write generic device register (platform dependent)
 *
 * @param  handle    customizable argument. In this examples is used in
 *                   order to select the correct sensor bus handler.
 * @param  reg       register to write
 * @param  bufp      pointer to data to write in register reg
 * @param  len       number of consecutive register to write
 *
 */
static int32_t platform_write(void *handle, uint8_t reg, const uint8_t *bufp,
		uint16_t len) {
	HAL_I2C_Mem_Write(handle, ISM330DHCX_I2C_ADD_H, reg, I2C_MEMADD_SIZE_8BIT,
			(uint8_t*) bufp, len, 1000);
	return 0;
}

/*
 * @brief  Read generic device register (platform dependent)
 *
 * @param  handle    customizable argument. In this examples is used in
 *                   order to select the correct sensor bus handler.
 * @param  reg       register to read
 * @param  bufp      pointer to buffer that store the data read
 * @param  len       number of consecutive register to read
 *
 */
static int32_t platform_read(void *handle, uint8_t reg, uint8_t *bufp,
		uint16_t len) {
	HAL_GPIO_WritePin(GPIOC, GPIO_PIN_1, GPIO_PIN_SET);
	HAL_I2C_Mem_Read(handle, ISM330DHCX_I2C_ADD_H, reg, I2C_MEMADD_SIZE_8BIT,
			bufp, len, 1000);
	return 0;
}

/*
 * @brief  Initialize ISM330DHCX sensor interface
 *
 * @param  No
 *
 * @return No
 *
 */
static void ism330dhcx_initialize() {
	ism330dhcx_initialize_basics();
#if (SENSOR_TYPE == ACCELEROMETER)
	/* Accelelerometer configuration */
	ism330dhcx_xl_data_rate_set(&dev_ctx, ACCELEROMETER_ODR);
	ism330dhcx_xl_full_scale_set(&dev_ctx, ACCELEROMETER_FS);
#elif (SENSOR_TYPE == GYROSCOPE)
  /* Gyroscope configuration */
  ism330dhcx_gy_data_rate_set(&dev_ctx, GYROSCOPE_ODR);
  ism330dhcx_gy_full_scale_set(&dev_ctx, GYROSCOPE_FS);
#endif
	ism330dhcx_initialize_fifo();
}

/*
 * @brief  Initialize ISM330DHCX basics
 *
 * @param  No
 *
 * @return No
 *
 */
static void ism330dhcx_initialize_basics() {
	/* Check device ID */
	whoamI = 0;

	do {
		/* Wait sensor boot time */
		HAL_Delay(10);
		ism330dhcx_device_id_get(&dev_ctx, &whoamI);
	} while (whoamI != ISM330DHCX_ID);

	/* Restore default configuration */
	ism330dhcx_reset_set(&dev_ctx, PROPERTY_ENABLE);

	do {
		ism330dhcx_reset_get(&dev_ctx, &rst);
	} while (rst);

	/* Start device configuration. */
	ism330dhcx_device_conf_set(&dev_ctx, PROPERTY_ENABLE);
}

/*
 * @brief  Initialize ISM330DHCX internal FIFO
 *
 * @param  No
 *
 * @return No
 *
 */
static void ism330dhcx_initialize_fifo() {
#if (SENSOR_TYPE == ACCELEROMETER)
	/* Batch odr config */
	ism330dhcx_fifo_xl_batch_set(&dev_ctx, ACCELEROMETER_ODR);
	ism330dhcx_fifo_gy_batch_set(&dev_ctx, 0);
#elif (SENSOR_TYPE == GYROSCOPE)
  /* Batch odr config */
  ism330dhcx_fifo_xl_batch_set(&dev_ctx, 0);
  ism330dhcx_fifo_gy_batch_set(&dev_ctx, GYROSCOPE_ODR);
#endif
	/* FIFO MODE */
	ism330dhcx_fifo_mode_set(&dev_ctx, ISM330DHCX_BYPASS_MODE);
	HAL_Delay(10);
	ism330dhcx_fifo_mode_set(&dev_ctx, ISM330DHCX_STREAM_MODE);
	/* Watermark config */
	if (SAMPLES <= MAX_FIFO_SIZE) {
		ism330dhcx_fifo_watermark_set(&dev_ctx, (uint16_t) SAMPLES);
	} else {
		ism330dhcx_fifo_watermark_set(&dev_ctx, (uint16_t) MAX_FIFO_SIZE);
	}
	uint8_t ctrl = 0x08;
	ism330dhcx_write_reg(&dev_ctx, ISM330DHCX_INT1_CTRL, (uint8_t*) &ctrl, 1);
}

/*
 * @brief  Get accelerometer or gyroscope data from
 *         ISM330DHCX using the internal FIFO buffer
 *
 * @param  No
 *
 * @return No
 *
 */
static void ism330dhcx_get_buffer_from_fifo(uint16_t nb) {
	uint8_t reg_tag = 0;
	uint8_t buff_tmp[nb * FIFO_WORD];
	/*
	 * The data stored in FIFO are accessible from dedicated registers and each FIFO word is composed of 7
	 * bytes: one tag byte (FIFO_DATA_OUT_TAG (78h)), in order to identify the sensor, and 6 bytes of fixed data
	 * (FIFO_DATA_OUT registers from (79h) to (7Eh))
	 * So, here we read the fifo in only one transaction in order to save time
	 */
	ism330dhcx_read_reg(&dev_ctx, ISM330DHCX_FIFO_DATA_OUT_TAG, buff_tmp,
			nb * FIFO_WORD);
	for (uint16_t i = 0; i < nb; i++) {
		HAL_GPIO_WritePin(GPIOC, GPIO_PIN_1, GPIO_PIN_SET);
		/* According to the datasheet, the TAG_SENSOR is the 5 MSB of the FIFO_DATA_OUT_TAG register, so we shift 3 bits to the right */
		reg_tag = buff_tmp[FIFO_WORD * i] >> 3;
		if (reg_tag == ISM330DHCX_XL_NC_TAG) {
			neai_buffer[(AXIS * neai_buffer_ptr) + (AXIS * i)] =
					ism330dhcx_convert_accel_data_to_mg(
							(uint16_t) buff_tmp[(FIFO_WORD * i) + 2] << 8
									| buff_tmp[(FIFO_WORD * i) + 1]);
			neai_buffer[(AXIS * neai_buffer_ptr) + (AXIS * i) + 1] =
					ism330dhcx_convert_accel_data_to_mg(
							(uint16_t) buff_tmp[(FIFO_WORD * i) + 4] << 8
									| buff_tmp[(FIFO_WORD * i) + 3]);
			neai_buffer[(AXIS * neai_buffer_ptr) + (AXIS * i) + 2] =
					ism330dhcx_convert_accel_data_to_mg(
							(uint16_t) buff_tmp[(FIFO_WORD * i) + 6] << 8
									| buff_tmp[(FIFO_WORD * i) + 5]);
		} else if (reg_tag == ISM330DHCX_GYRO_NC_TAG) {
			neai_buffer[(AXIS * neai_buffer_ptr) + (AXIS * i)] =
					ism330dhcx_convert_gyro_data_to_mdps(
							(uint16_t) buff_tmp[(FIFO_WORD * i) + 2] << 8
									| buff_tmp[(FIFO_WORD * i) + 1]);
			neai_buffer[(AXIS * neai_buffer_ptr) + (AXIS * i) + 1] =
					ism330dhcx_convert_gyro_data_to_mdps(
							(uint16_t) buff_tmp[(FIFO_WORD * i) + 4] << 8
									| buff_tmp[(FIFO_WORD * i) + 3]);
			neai_buffer[(AXIS * neai_buffer_ptr) + (AXIS * i) + 2] =
					ism330dhcx_convert_gyro_data_to_mdps(
							(uint16_t) buff_tmp[(FIFO_WORD * i) + 6] << 8
									| buff_tmp[(FIFO_WORD * i) + 5]);
		}
	}
	neai_buffer_ptr += nb;
	if (neai_buffer_ptr == SAMPLES) {
		neai_buffer_ptr = 0;
	}
}

/*
 * @brief  Convert gyroscope raw data to milli degrees per second (mdps)
 *
 * @param  gyro_raw_data: which is gyroscope raw data
 *                        depending on the full scale selected
 *
 * @return The converted value in milli degrees per second (mdps)
 *
 */
static float ism330dhcx_convert_gyro_data_to_mdps(int16_t gyro_raw_data) {
	float gyro_data_mdps = 0.0;
#if (SENSOR_TYPE == GYROSCOPE)
  switch (GYROSCOPE_FS)
  {
  case ISM330DHCX_125dps:
    gyro_data_mdps = ism330dhcx_from_fs125dps_to_mdps(gyro_raw_data);
    break;
  case ISM330DHCX_250dps:
    gyro_data_mdps = ism330dhcx_from_fs250dps_to_mdps(gyro_raw_data);
    break;
  case ISM330DHCX_500dps:
    gyro_data_mdps = ism330dhcx_from_fs500dps_to_mdps(gyro_raw_data);
    break;
  case ISM330DHCX_1000dps:HAL_GPIO_WritePin(GPIOC, GPIO_PIN_1, GPIO_PIN_SET);
    gyro_data_mdps = ism330dhcx_from_fs1000dps_to_mdps(gyro_raw_data);
    break;
  case ISM330DHCX_2000dps:
    gyro_data_mdps = ism330dhcx_from_fs2000dps_to_mdps(gyro_raw_data);
    break;
  case ISM330DHCX_4000dps:
    gyro_data_mdps = ism330dhcx_from_fs4000dps_to_mdps(gyro_raw_data);
    break;
  default:
    gyro_data_mdps = 0.0;
    break;
  }
#endif
	return gyro_data_mdps;
}

/*
 * @brief  Convert accelerometer raw data to milli-G' (mg)
 *
 * @param  accel_raw_data: which is accelerometer raw data
 *                        depending on the full scale selected
 *
 * @return The converted value in milli-G' (mg)
 *
 */
static float ism330dhcx_convert_accel_data_to_mg(int16_t accel_raw_data) {
	float accel_data_mg = 0.0;
#if (SENSOR_TYPE == ACCELEROMETER)
	switch (ACCELEROMETER_FS) {
	case ISM330DHCX_2g:
		accel_data_mg = ism330dhcx_from_fs2g_to_mg(accel_raw_data);
		break;
	case ISM330DHCX_4g:
		accel_data_mg = ism330dhcx_from_fs4g_to_mg(accel_raw_data);
		break;
	case ISM330DHCX_8g:
		accel_data_mg = ism330dhcx_from_fs8g_to_mg(accel_raw_data);
		break;
	case ISM330DHCX_16g:
		accel_data_mg = ism330dhcx_from_fs16g_to_mg(accel_raw_data);
		break;
	default:
		accel_data_mg = 0.0;
		break;
	}
#endif
	return accel_data_mg;
}

void Inference() {
	FillBuffer(input_user_buffer, SIGNAL_SIZE);
	uint16_t id_class;
	neai_classification(input_user_buffer, output_class_buffer, &id_class);
	printf("Class: %s [%u%%]\r\n", id2class[id_class],
			(uint16_t) (output_class_buffer[id_class - 1] * 100));
	printf("id class : %d \n", id_class);
	if (id_class == 2) {
		printf("ch3l");
		HAL_GPIO_WritePin(GPIOF, GPIO_PIN_13, GPIO_PIN_SET);
	} else {
		printf("tfi");
		HAL_GPIO_WritePin(GPIOF, GPIO_PIN_13, GPIO_PIN_RESET);
	}
}

void FillBuffer(float *buffer, uint32_t size) {
	uint16_t num;
	uint16_t data_left = size / AXIS;
	uint8_t buff_tmp[MAX_FIFO_SIZE * FIFO_WORD];

	while (data_left > 0) {
		ism330dhcx_fifo_data_level_get(&dev_ctx, &num);
		if (data_left < num) {
			num = data_left;
		}

		ism330dhcx_read_reg(&dev_ctx, ISM330DHCX_FIFO_DATA_OUT_TAG, buff_tmp,
				num * FIFO_WORD);

		for (uint16_t i = 0; i < num; i++) {
			uint8_t reg_tag = buff_tmp[FIFO_WORD * i] >> 3;
			if (reg_tag == ISM330DHCX_XL_NC_TAG) {
				buffer[(AXIS * i)] = ism330dhcx_convert_accel_data_to_mg(
						(uint16_t) buff_tmp[(FIFO_WORD * i) + 2] << 8
								| buff_tmp[(FIFO_WORD * i) + 1]);
				buffer[(AXIS * i) + 1] = ism330dhcx_convert_accel_data_to_mg(
						(uint16_t) buff_tmp[(FIFO_WORD * i) + 4] << 8
								| buff_tmp[(FIFO_WORD * i) + 3]);
				buffer[(AXIS * i) + 2] = ism330dhcx_convert_accel_data_to_mg(
						(uint16_t) buff_tmp[(FIFO_WORD * i) + 6] << 8
								| buff_tmp[(FIFO_WORD * i) + 5]);
			}
		}
		data_left -= num;
	}
}

/* USER CODE END 4 */

void Error_Handler(void)
{
	__disable_irq();
	while (1) {
	}
}
